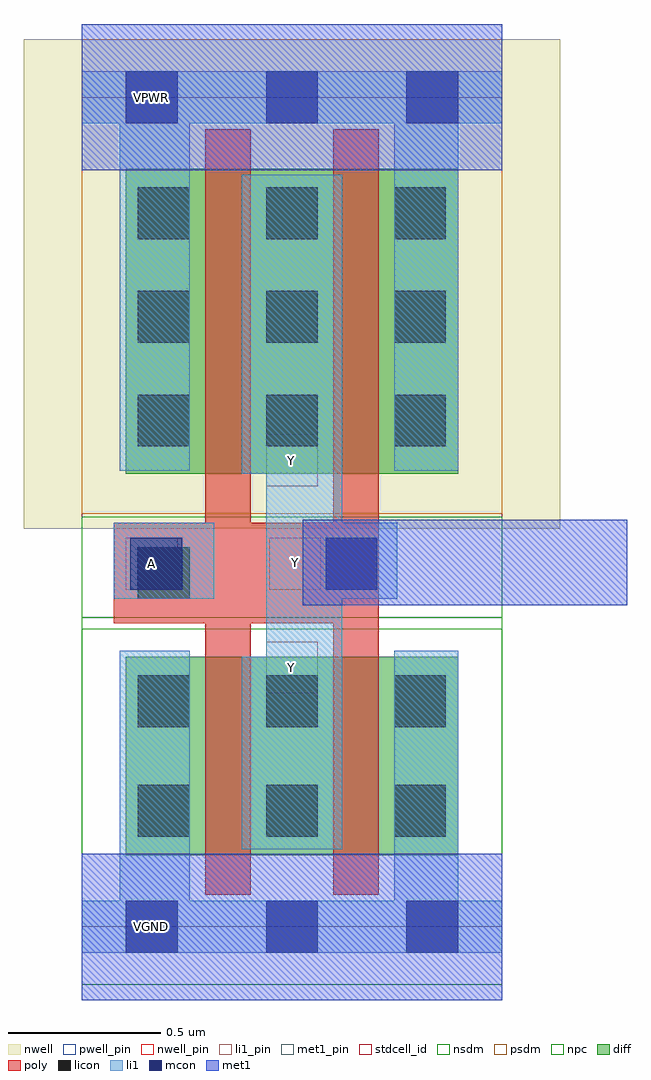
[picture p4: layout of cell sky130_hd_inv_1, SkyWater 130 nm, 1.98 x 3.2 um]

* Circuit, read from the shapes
.subckt sky130_hd_inv_1 A VGND VNB VPB VPWR Y
XM1 Y A VGND VNB sky130_fd_pr__nfet_01v8 w=0.65 l=0.15 m=2
XM2 Y A VPWR VPB sky130_fd_pr__pfet_01v8 w=1 l=0.15 m=2
.ends

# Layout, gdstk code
import gdstk
lib = gdstk.Library(unit=1e-6, precision=1e-09)
def R(c, l, rs):  # rectangles x0, y0, x1, y1
    for r in rs: c.add(gdstk.rectangle(r[:2], r[2:], *l))
def A(c, l, x, y, w, h, nx, ny, dx, dy):  # array of equal rectangles
    R(c, l, [(x+i*dx, y+j*dy, x+i*dx+w, y+j*dy+h) for i in range(nx) for j in range(ny)])
def P(c, l, *ps):  # polygons
    for p in ps: c.add(gdstk.Polygon(p, *l))
nwell_pin = (64, 16)
nwell = (64, 20)
diff = (65, 20)
poly = (66, 20)
licon = (66, 44)
li1_pin = (67, 16)
li1 = (67, 20)
mcon = (67, 44)
met1_pin = (68, 16)
met1 = (68, 20)
stdcell_id = (81, 4)
nsdm = (93, 44)
psdm = (94, 20)
npc = (95, 20)
pwell_pin = (122, 16)

sky130_hd_inv_1 = lib.new_cell('sky130_hd_inv_1')
R(sky130_hd_inv_1, nwell_pin, [(0.145,2.635,0.315,2.805)])
R(sky130_hd_inv_1, nwell, [(-0.19,1.305,1.57,2.91)])
R(sky130_hd_inv_1, diff, [(0.145,0.235,1.235,0.885), (0.145,1.485,1.235,2.485)])
P(sky130_hd_inv_1, poly, [(0.405,0.105),(0.405,0.995),(0.105,0.995),(0.105,1.325),(0.405,1.325),(0.405,2.615),(0.555,2.615),(0.555,1.325),(0.825,1.325),(0.825,2.615),(0.975,2.615),(0.975,0.105),(0.825,0.105),(0.825,0.995),(0.555,0.995),(0.555,0.105)])
A(sky130_hd_inv_1, licon, 0.185, 0.295, 0.17, 0.17, 3, 2, 0.42, 0.36)
A(sky130_hd_inv_1, licon, 0.185, 1.575, 0.17, 0.17, 3, 3, 0.42, 0.34)
R(sky130_hd_inv_1, licon, [(0.185,1.075,0.355,1.245)])
R(sky130_hd_inv_1, li1_pin, [(0.605,0.765,0.775,0.935), (0.145,1.105,0.315,1.275), (0.615,1.105,0.785,1.275), (0.605,1.445,0.775,1.615)])
R(sky130_hd_inv_1, li1, [(0.105,1.075,0.435,1.325), (0.855,1.075,1.035,1.325)])
P(sky130_hd_inv_1, li1, [(0,-0.085),(0,0.085),(0.125,0.085),(0.125,0.905),(0.355,0.905),(0.355,0.085),(1.025,0.085),(1.025,0.905),(1.235,0.905),(1.235,0.085),(1.38,0.085),(1.38,-0.085)],
  [(0.125,1.495),(0.125,2.635),(0,2.635),(0,2.805),(1.38,2.805),(1.38,2.635),(1.235,2.635),(1.235,1.495),(1.025,1.495),(1.025,2.635),(0.355,2.635),(0.355,1.495)],
  [(0.525,0.255),(0.525,0.885),(0.605,0.885),(0.605,1.485),(0.525,1.485),(0.525,2.465),(0.855,2.465),(0.855,0.255)])
A(sky130_hd_inv_1, mcon, 0.145, -0.085, 0.17, 0.17, 3, 2, 0.46, 2.72)
R(sky130_hd_inv_1, mcon, [(0.16,1.105,0.33,1.275), (0.8,1.105,0.97,1.275)])
R(sky130_hd_inv_1, met1_pin, [(0.145,-0.085,0.315,0.085), (0.145,2.635,0.315,2.805)])
R(sky130_hd_inv_1, met1, [(0.725,1.055,1.79,1.335)])
R(sky130_hd_inv_1, stdcell_id, [(0,0,1.38,2.72)])
R(sky130_hd_inv_1, nsdm, [(0,-0.19,1.38,1.015)])
R(sky130_hd_inv_1, psdm, [(0,1.355,1.38,2.91)])
R(sky130_hd_inv_1, npc, [(0,0.975,1.38,1.345)])
R(sky130_hd_inv_1, pwell_pin, [(0.145,-0.085,0.315,0.085)])
sky130_hd_inv_1.add(gdstk.FlexPath([(0,0),(1.38,0)], 0.48, ends="flush", simple_path=True, layer=68, datatype=20))  # met1
sky130_hd_inv_1.add(gdstk.FlexPath([(0,2.72),(1.38,2.72)], 0.48, ends="flush", simple_path=True, layer=68, datatype=20))  # met1
sky130_hd_inv_1.add(gdstk.Label('VGND', (0.23,0), layer=68, texttype=5))
sky130_hd_inv_1.add(gdstk.Label('VPWR', (0.23,2.72), layer=68, texttype=5))
sky130_hd_inv_1.add(gdstk.Label('A', (0.23,1.19), layer=67, texttype=5))
sky130_hd_inv_1.add(gdstk.Label('Y', (0.69,0.85), layer=67, texttype=5))
sky130_hd_inv_1.add(gdstk.Label('Y', (0.7,1.195), layer=67, texttype=5))
sky130_hd_inv_1.add(gdstk.Label('Y', (0.69,1.53), layer=67, texttype=5))
sky130_hd_inv_1.add(gdstk.Label('VNB', (0.23,0), layer=64, texttype=59))
sky130_hd_inv_1.add(gdstk.Label('VPB', (0.23,2.72), layer=64, texttype=5))

lib.write_gds('sky130_hd_inv_1.gds')
